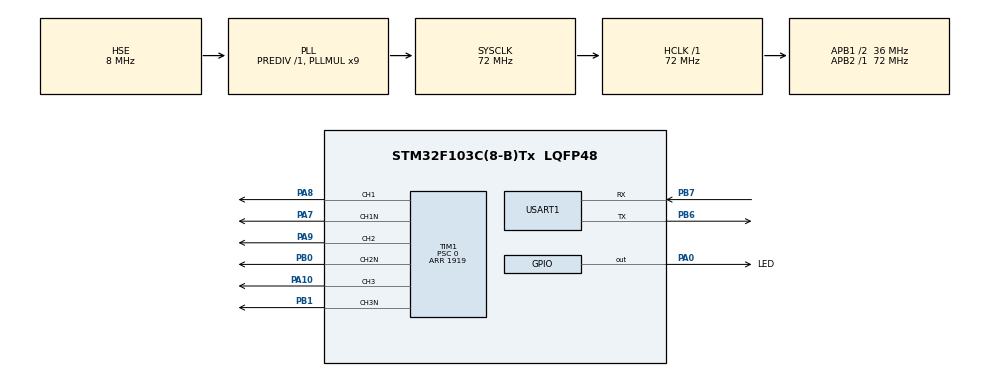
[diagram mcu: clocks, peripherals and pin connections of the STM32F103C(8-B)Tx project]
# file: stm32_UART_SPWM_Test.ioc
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Mcu.Family=STM32F1
Mcu.Name=STM32F103C(8-B)Tx
Mcu.Package=LQFP48
NVIC.PriorityGroup=NVIC_PRIORITYGROUP_4
NVIC.TIM1_CC_IRQn=true\:0\:0\:false\:false\:true\:true\:true\:true
NVIC.TIM1_TRG_COM_IRQn=true\:0\:0\:false\:false\:true\:true\:true\:true
NVIC.TIM1_UP_IRQn=true\:0\:0\:false\:false\:true\:true\:true\:true
NVIC.TIM2_IRQn=true\:0\:0\:false\:false\:true\:true\:true\:true
PA0-WKUP.GPIO_Label=LED
PA0-WKUP.GPIO_Speed=GPIO_SPEED_FREQ_MEDIUM
PA0-WKUP.Signal=GPIO_Output
PA10.Signal=S_TIM1_CH3
PA7.Mode=PWM Generation1 CH1 CH1N
PA7.Signal=TIM1_CH1N
PA8.Signal=S_TIM1_CH1
PA9.Signal=S_TIM1_CH2
PB0.Mode=PWM Generation2 CH2 CH2N
PB0.Signal=TIM1_CH2N
PB1.Mode=PWM Generation3 CH3 CH3N
PB1.Signal=TIM1_CH3N
PB6.Mode=Asynchronous
PB6.Signal=USART1_TX
PB7.Mode=Asynchronous
PB7.Signal=USART1_RX
PD0-OSC_IN.Mode=HSE-External-Oscillator
PD0-OSC_IN.Signal=RCC_OSC_IN
PD1-OSC_OUT.Mode=HSE-External-Oscillator
PD1-OSC_OUT.Signal=RCC_OSC_OUT
ProjectManager.HeapSize=0x200
ProjectManager.StackSize=0x400
ProjectManager.TargetToolchain=STM32CubeIDE
RCC.AHBFreq_Value=72000000
RCC.APB1CLKDivider=RCC_HCLK_DIV2
RCC.APB1Freq_Value=36000000
RCC.APB1TimFreq_Value=72000000
RCC.APB2Freq_Value=72000000
RCC.APB2TimFreq_Value=72000000
RCC.HCLKFreq_Value=72000000
RCC.PLLMUL=RCC_PLL_MUL9
RCC.PLLSourceVirtual=RCC_PLLSOURCE_HSE
RCC.SYSCLKFreq_VALUE=72000000
RCC.SYSCLKSource=RCC_SYSCLKSOURCE_PLLCLK
RCC.USBFreq_Value=72000000
SH.S_TIM1_CH1.0=TIM1_CH1,PWM Generation1 CH1 CH1N
SH.S_TIM1_CH2.0=TIM1_CH2,PWM Generation2 CH2 CH2N
SH.S_TIM1_CH3.0=TIM1_CH3,PWM Generation3 CH3 CH3N
TIM1.Channel-PWM\ Generation1\ CH1\ CH1N=TIM_CHANNEL_1
TIM1.Channel-PWM\ Generation2\ CH2\ CH2N=TIM_CHANNEL_2
TIM1.Channel-PWM\ Generation3\ CH3\ CH3N=TIM_CHANNEL_3
TIM1.CounterMode=TIM_COUNTERMODE_CENTERALIGNED3
TIM1.Period=1919
TIM1.Prescaler=0
TIM1.TIM_MasterOutputTrigger=TIM_TRGO_ENABLE
TIM2.CounterMode=TIM_COUNTERMODE_CENTERALIGNED3
TIM2.Period=1919
TIM2.Prescaler=0
TIM2.TIM_MasterOutputTrigger=TIM_TRGO_UPDATE
USART1.VirtualMode=VM_ASYNC
VP_TIM1_VS_ClockSourceINT.Mode=Internal
VP_TIM2_VS_ClockSourceINT.Mode=Internal
VP_TIM2_VS_ClockSourceITR.Mode=TriggerSource_ITR0
VP_TIM2_VS_ControllerModeTrigger.Mode=Trigger Mode
board=custom

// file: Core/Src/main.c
/* USER CODE BEGIN Header */
/**
  ******************************************************************************
  * @file           : main.c
  * @brief          : Main program body
  ******************************************************************************
  * @attention
  *
  * Copyright (c) 2024 STMicroelectronics.
  * All rights reserved.
  *
  * This software is licensed under terms that can be found in the LICENSE file
  * in the root directory of this software component.
  * If no LICENSE file comes with this software, it is provided AS-IS.
  *
  ******************************************************************************
  */
/* USER CODE END Header */
#include "main.h"

/* USER CODE BEGIN Includes */
#include "math.h"
/* USER CODE END Includes */

TIM_HandleTypeDef htim1;
TIM_HandleTypeDef htim2;

UART_HandleTypeDef huart1;

void SystemClock_Config(void);
static void MX_GPIO_Init(void);
static void MX_USART1_UART_Init(void);
static void MX_TIM1_Init(void);
static void MX_TIM2_Init(void);
/* USER CODE BEGIN PFP */
void sineValuesGeneration(void);
void characterDecomposition(uint16_t value, uint8_t decomposed[]);
/* USER CODE END PFP */

/* USER CODE BEGIN 0 */
//uint8_t tx_buff[2] = {'A', '.'};
//uint8_t tx_buff2[2] = {'B', '.'};
//uint8_t decomposition[4];
uint16_t nValues;
uint16_t counter = 0;
uint16_t sinValues[375];
//const uint8_t separator = '\n';

double m = 1.0;

uint16_t phaseA = 0;
uint16_t phaseB;
uint16_t phaseC;

uint16_t freq = 100;
/* USER CODE END 0 */

int main(void)
{

  /* MCU Configuration--------------------------------------------------------*/

  /* Reset of all peripherals, Initializes the Flash interface and the Systick. */
  HAL_Init();

  /* Configure the system clock */
  SystemClock_Config();

  /* Initialize all configured peripherals */
  MX_GPIO_Init();
  MX_USART1_UART_Init();
  MX_TIM1_Init();
  MX_TIM2_Init();
  /* USER CODE BEGIN 2 */
  sineValuesGeneration();

  TIM1->CCR1 = 0;
  //HAL_TIM_PWM_Start(&htim2, TIM_CHANNEL_1);
  HAL_TIM_Base_Start_IT(&htim2);
  HAL_Delay(250);
  HAL_TIM_PWM_Start(&htim1, TIM_CHANNEL_1);
  HAL_TIM_PWM_Start(&htim1, TIM_CHANNEL_2);
  HAL_TIM_PWM_Start(&htim1, TIM_CHANNEL_3);
  /* USER CODE END 2 */

  /* Infinite loop */
  while (1)
  {

    /* USER CODE BEGIN 3 */

	//characterDecomposition(sinValues[counter], decomposition);
	//counter++;
	//if(counter > nValues) counter = 0;

	//HAL_UART_Transmit(&huart1, decomposition, 4, 100);
	//HAL_Delay(100);
	//HAL_UART_Transmit(&huart1, &separator, 1, 100);
	//HAL_Delay(100);
  }
  /* USER CODE END 3 */
}

void SystemClock_Config(void)
{
  RCC_OscInitTypeDef RCC_OscInitStruct = {0};
  RCC_ClkInitTypeDef RCC_ClkInitStruct = {0};

  /** Initializes the RCC Oscillators according to the specified parameters
  * in the RCC_OscInitTypeDef structure.
  */
  RCC_OscInitStruct.OscillatorType = RCC_OSCILLATORTYPE_HSE;
  RCC_OscInitStruct.HSEState = RCC_HSE_ON;
  RCC_OscInitStruct.HSEPredivValue = RCC_HSE_PREDIV_DIV1;
  RCC_OscInitStruct.HSIState = RCC_HSI_ON;
  RCC_OscInitStruct.PLL.PLLState = RCC_PLL_ON;
  RCC_OscInitStruct.PLL.PLLSource = RCC_PLLSOURCE_HSE;
  RCC_OscInitStruct.PLL.PLLMUL = RCC_PLL_MUL9;
  if (HAL_RCC_OscConfig(&RCC_OscInitStruct) != HAL_OK)
  {
    Error_Handler();
  }

  /** Initializes the CPU, AHB and APB buses clocks
  */
  RCC_ClkInitStruct.ClockType = RCC_CLOCKTYPE_HCLK|RCC_CLOCKTYPE_SYSCLK
                              |RCC_CLOCKTYPE_PCLK1|RCC_CLOCKTYPE_PCLK2;
  RCC_ClkInitStruct.SYSCLKSource = RCC_SYSCLKSOURCE_PLLCLK;
  RCC_ClkInitStruct.AHBCLKDivider = RCC_SYSCLK_DIV1;
  RCC_ClkInitStruct.APB1CLKDivider = RCC_HCLK_DIV2;
  RCC_ClkInitStruct.APB2CLKDivider = RCC_HCLK_DIV1;

  if (HAL_RCC_ClockConfig(&RCC_ClkInitStruct, FLASH_LATENCY_2) != HAL_OK)
  {
    Error_Handler();
  }
}

static void MX_TIM1_Init(void)
{

  TIM_ClockConfigTypeDef sClockSourceConfig = {0};
  TIM_MasterConfigTypeDef sMasterConfig = {0};
  TIM_OC_InitTypeDef sConfigOC = {0};
  TIM_BreakDeadTimeConfigTypeDef sBreakDeadTimeConfig = {0};

  htim1.Instance = TIM1;
  htim1.Init.Prescaler = 0;
  htim1.Init.CounterMode = TIM_COUNTERMODE_CENTERALIGNED3;
  htim1.Init.Period = 1919;
  htim1.Init.ClockDivision = TIM_CLOCKDIVISION_DIV1;
  htim1.Init.RepetitionCounter = 0;
  htim1.Init.AutoReloadPreload = TIM_AUTORELOAD_PRELOAD_DISABLE;
  if (HAL_TIM_Base_Init(&htim1) != HAL_OK)
  {
    Error_Handler();
  }
  sClockSourceConfig.ClockSource = TIM_CLOCKSOURCE_INTERNAL;
  if (HAL_TIM_ConfigClockSource(&htim1, &sClockSourceConfig) != HAL_OK)
  {
    Error_Handler();
  }
  if (HAL_TIM_PWM_Init(&htim1) != HAL_OK)
  {
    Error_Handler();
  }
  sMasterConfig.MasterOutputTrigger = TIM_TRGO_ENABLE;
  sMasterConfig.MasterSlaveMode = TIM_MASTERSLAVEMODE_DISABLE;
  if (HAL_TIMEx_MasterConfigSynchronization(&htim1, &sMasterConfig) != HAL_OK)
  {
    Error_Handler();
  }
  sConfigOC.OCMode = TIM_OCMODE_PWM1;
  sConfigOC.Pulse = 0;
  sConfigOC.OCPolarity = TIM_OCPOLARITY_HIGH;
  sConfigOC.OCNPolarity = TIM_OCNPOLARITY_HIGH;
  sConfigOC.OCFastMode = TIM_OCFAST_DISABLE;
  sConfigOC.OCIdleState = TIM_OCIDLESTATE_RESET;
  sConfigOC.OCNIdleState = TIM_OCNIDLESTATE_RESET;
  if (HAL_TIM_PWM_ConfigChannel(&htim1, &sConfigOC, TIM_CHANNEL_1) != HAL_OK)
  {
    Error_Handler();
  }
  if (HAL_TIM_PWM_ConfigChannel(&htim1, &sConfigOC, TIM_CHANNEL_2) != HAL_OK)
  {
    Error_Handler();
  }
  if (HAL_TIM_PWM_ConfigChannel(&htim1, &sConfigOC, TIM_CHANNEL_3) != HAL_OK)
  {
    Error_Handler();
  }
  sBreakDeadTimeConfig.OffStateRunMode = TIM_OSSR_DISABLE;
  sBreakDeadTimeConfig.OffStateIDLEMode = TIM_OSSI_DISABLE;
  sBreakDeadTimeConfig.LockLevel = TIM_LOCKLEVEL_OFF;
  sBreakDeadTimeConfig.DeadTime = 0;
  sBreakDeadTimeConfig.BreakState = TIM_BREAK_DISABLE;
  sBreakDeadTimeConfig.BreakPolarity = TIM_BREAKPOLARITY_HIGH;
  sBreakDeadTimeConfig.AutomaticOutput = TIM_AUTOMATICOUTPUT_DISABLE;
  if (HAL_TIMEx_ConfigBreakDeadTime(&htim1, &sBreakDeadTimeConfig) != HAL_OK)
  {
    Error_Handler();
  }
  HAL_TIM_MspPostInit(&htim1);

}

static void MX_TIM2_Init(void)
{

  TIM_ClockConfigTypeDef sClockSourceConfig = {0};
  TIM_SlaveConfigTypeDef sSlaveConfig = {0};
  TIM_MasterConfigTypeDef sMasterConfig = {0};

  htim2.Instance = TIM2;
  htim2.Init.Prescaler = 0;
  htim2.Init.CounterMode = TIM_COUNTERMODE_CENTERALIGNED3;
  htim2.Init.Period = 1919;
  htim2.Init.ClockDivision = TIM_CLOCKDIVISION_DIV1;
  htim2.Init.AutoReloadPreload = TIM_AUTORELOAD_PRELOAD_DISABLE;
  if (HAL_TIM_Base_Init(&htim2) != HAL_OK)
  {
    Error_Handler();
  }
  sClockSourceConfig.ClockSource = TIM_CLOCKSOURCE_INTERNAL;
  if (HAL_TIM_ConfigClockSource(&htim2, &sClockSourceConfig) != HAL_OK)
  {
    Error_Handler();
  }
  sSlaveConfig.SlaveMode = TIM_SLAVEMODE_TRIGGER;
  sSlaveConfig.InputTrigger = TIM_TS_ITR0;
  if (HAL_TIM_SlaveConfigSynchro(&htim2, &sSlaveConfig) != HAL_OK)
  {
    Error_Handler();
  }
  sMasterConfig.MasterOutputTrigger = TIM_TRGO_UPDATE;
  sMasterConfig.MasterSlaveMode = TIM_MASTERSLAVEMODE_DISABLE;
  if (HAL_TIMEx_MasterConfigSynchronization(&htim2, &sMasterConfig) != HAL_OK)
  {
    Error_Handler();
  }

}

static void MX_USART1_UART_Init(void)
{

  huart1.Instance = USART1;
  huart1.Init.BaudRate = 115200;
  huart1.Init.WordLength = UART_WORDLENGTH_8B;
  huart1.Init.StopBits = UART_STOPBITS_1;
  huart1.Init.Parity = UART_PARITY_NONE;
  huart1.Init.Mode = UART_MODE_TX_RX;
  huart1.Init.HwFlowCtl = UART_HWCONTROL_NONE;
  huart1.Init.OverSampling = UART_OVERSAMPLING_16;
  if (HAL_UART_Init(&huart1) != HAL_OK)
  {
    Error_Handler();
  }

}

static void MX_GPIO_Init(void)
{
  GPIO_InitTypeDef GPIO_InitStruct = {0};

  /* GPIO Ports Clock Enable */
  __HAL_RCC_GPIOD_CLK_ENABLE();
  __HAL_RCC_GPIOA_CLK_ENABLE();
  __HAL_RCC_GPIOB_CLK_ENABLE();

  /*Configure GPIO pin Output Level */
  HAL_GPIO_WritePin(LED_GPIO_Port, LED_Pin, GPIO_PIN_RESET);

  /*Configure GPIO pin : LED_Pin */
  GPIO_InitStruct.Pin = LED_Pin;
  GPIO_InitStruct.Mode = GPIO_MODE_OUTPUT_PP;
  GPIO_InitStruct.Pull = GPIO_NOPULL;
  GPIO_InitStruct.Speed = GPIO_SPEED_FREQ_MEDIUM;
  HAL_GPIO_Init(LED_GPIO_Port, &GPIO_InitStruct);

}

/* USER CODE BEGIN 4 */
void sineValuesGeneration(void){
	nValues = 37500/freq;
	phaseB = 1*floor(nValues/3.00) + phaseA;
	phaseC = 2*floor(nValues/3.00) + phaseA;
	for(uint16_t i = 0; i < nValues; i++){
		sinValues[i] = floor(1919.00*(0.5*m*sin(i*2*3.1416/nValues)+0.5));
	}
}

void HAL_TIM_PeriodElapsedCallback(TIM_HandleTypeDef *htim){
	TIM1->CCR1 = 959;//sinValues[(counter + phaseA)%nValues];
	TIM1->CCR2 = sinValues[(counter + phaseB)%nValues];
	TIM1->CCR3 = sinValues[(counter + phaseC)%nValues];
	counter++;
	if(counter > nValues) counter = 0;
	//HAL_GPIO_TogglePin(LED_GPIO_Port, LED_Pin);
	//characterDecomposition(TIM2->CNT, decomposition);
	//characterDecomposition(sinValues[counter], decomposition);
	//counter++;
	//if(counter > nValues) counter = 0;
	//HAL_UART_Transmit(&huart1, decomposition, 4, 100);
}
//void HAL_TIM_PWM_PulseFinishedCallback (TIM_HandleTypeDef *htim){
//	HAL_UART_Transmit(&huart1, tx_buff2, 2, 100);
//}
/* USER CODE END 4 */

void Error_Handler(void)
{
  __disable_irq();
  while (1)
  {
  }
}
